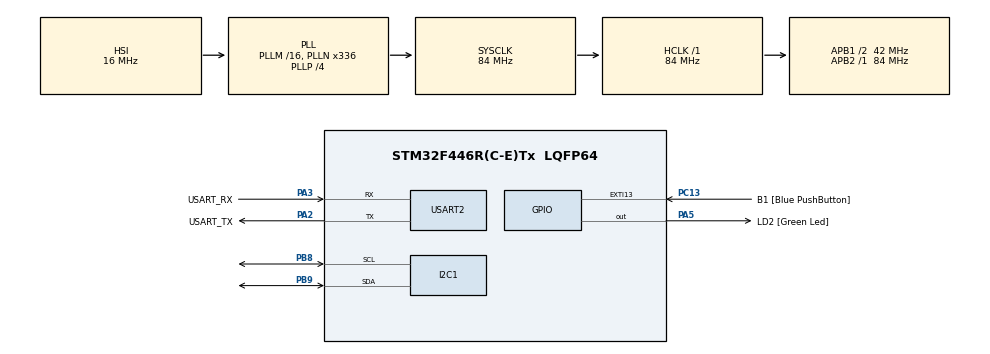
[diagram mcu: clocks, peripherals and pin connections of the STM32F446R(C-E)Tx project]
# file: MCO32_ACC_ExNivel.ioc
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I2C1.I2C_Mode=I2C_Fast
Mcu.Family=STM32F4
Mcu.Name=STM32F446R(C-E)Tx
Mcu.Package=LQFP64
NVIC.EXTI15_10_IRQn=true\:0\:0\:false\:false\:true\:true\:true\:true
NVIC.PriorityGroup=NVIC_PRIORITYGROUP_0
PA13.GPIO_Label=TMS
PA13.Mode=Serial_Wire
PA13.Signal=SYS_JTMS-SWDIO
PA14.GPIO_Label=TCK
PA14.Mode=Serial_Wire
PA14.Signal=SYS_JTCK-SWCLK
PA2.GPIO_Label=USART_TX
PA2.Mode=Asynchronous
PA2.Signal=USART2_TX
PA3.GPIO_Label=USART_RX
PA3.Mode=Asynchronous
PA3.Signal=USART2_RX
PA5.GPIO_Label=LD2 [Green Led]
PA5.Signal=GPIO_Output
PB3.GPIO_Label=SWO
PB3.Signal=SYS_JTDO-SWO
PB8.Mode=I2C
PB8.Signal=I2C1_SCL
PB9.Mode=I2C
PB9.Signal=I2C1_SDA
PC13.GPIO_Label=B1 [Blue PushButton]
PC13.GPIO_ModeDefaultEXTI=GPIO_MODE_IT_FALLING
PC13.Signal=GPXTI13
PC14-OSC32_IN.Mode=LSE-External-Oscillator
PC14-OSC32_IN.Signal=RCC_OSC32_IN
PC15-OSC32_OUT.Mode=LSE-External-Oscillator
PC15-OSC32_OUT.Signal=RCC_OSC32_OUT
PH0-OSC_IN.Mode=HSE-External-Oscillator
PH0-OSC_IN.Signal=RCC_OSC_IN
PH1-OSC_OUT.Mode=HSE-External-Oscillator
PH1-OSC_OUT.Signal=RCC_OSC_OUT
ProjectManager.HeapSize=0x200
ProjectManager.StackSize=0x400
ProjectManager.TargetToolchain=STM32CubeIDE
RCC.48MHZClocksFreq_Value=84000000
RCC.AHBFreq_Value=84000000
RCC.APB1CLKDivider=RCC_HCLK_DIV2
RCC.APB1Freq_Value=42000000
RCC.APB1TimFreq_Value=84000000
RCC.APB2Freq_Value=84000000
RCC.APB2TimFreq_Value=84000000
RCC.CortexFreq_Value=84000000
RCC.FLatency-AdvancedSettings=FLASH_LATENCY_2
RCC.HCLKFreq_Value=84000000
RCC.HSE_VALUE=8000000
RCC.HSI_VALUE=16000000
RCC.PLLN=336
RCC.PLLP=RCC_PLLP_DIV4
RCC.SYSCLKFreq_VALUE=84000000
RCC.SYSCLKSource=RCC_SYSCLKSOURCE_PLLCLK
RCC.USBFreq_Value=168000000
RCC.VCOOutputFreq_Value=336000000
TIM1.AutoReloadPreload=TIM_AUTORELOAD_PRELOAD_ENABLE
TIM1.Period=0xFFFF-1
TIM1.Prescaler=84-1
USART2.VirtualMode=VM_ASYNC
VP_TIM1_VS_ClockSourceINT.Mode=Internal
board=NUCLEO-F446RE

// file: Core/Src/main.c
/* USER CODE BEGIN Header */
/**
  ******************************************************************************
  * @file           : main.c
  * @brief          : Main program body
  ******************************************************************************
  * @attention
  *
  * Copyright (c) 2022 STMicroelectronics.
  * All rights reserved.
  *
  * This software is licensed under terms that can be found in the LICENSE file
  * in the root directory of this software component.
  * If no LICENSE file comes with this software, it is provided AS-IS.
  *
  ******************************************************************************
  */
/* USER CODE END Header */
#include "main.h"

/* USER CODE BEGIN Includes */
#include "fonts.h"
#include "tft.h"
#include "user_setting.h"
#include "functions.h"
#include "MPU6050_light_STM32.h"
#include <stdio.h>
#include <math.h>
/* USER CODE END Includes */

/* USER CODE BEGIN PD */
#define SCREEN_ORIENTATION 1 //0: Retrato | 1: Paisagem
#define SCREEN_BG BLACK //Cor de fundo

/* Mais cores (em RGB 565) */
#define GREY 0xC618
#define ORANGE 0xF9E0
#define PURPLE 0x68FF

/* USER CODE END PD */

I2C_HandleTypeDef hi2c1;

TIM_HandleTypeDef htim1;

UART_HandleTypeDef huart2;

void SystemClock_Config(void);
static void MX_GPIO_Init(void);
static void MX_USART2_UART_Init(void);
static void MX_TIM1_Init(void);
static void MX_I2C1_Init(void);
/* USER CODE BEGIN PFP */
void setScreenSettings(void);
void drawScenery(void);
/* USER CODE END PFP */

/* USER CODE BEGIN 0 */
#ifdef __GNUC__
/* With GCC/RAISONANCE, small printf (option LD Linker-
>Libraries->Small printf
set to 'Yes') calls __io_putchar() */
#define PUTCHAR_PROTOTYPE int __io_putchar(int ch)
#else
#define PUTCHAR_PROTOTYPE int fputc(int ch, FILE *f)
#endif /* __GNUC__ */
/* USER CODE END 0 */

int main(void)
{
  /* USER CODE BEGIN 1 */
	uint32_t timer = 0;
	float accX, accY;
  /* USER CODE END 1 */

  /* MCU Configuration--------------------------------------------------------*/

  /* Reset of all peripherals, Initializes the Flash interface and the Systick. */
  HAL_Init();

  /* Configure the system clock */
  SystemClock_Config();

  /* Initialize all configured peripherals */
  MX_GPIO_Init();
  MX_USART2_UART_Init();
  MX_TIM1_Init();
  MX_I2C1_Init();
  /* USER CODE BEGIN 2 */
  setScreenSettings();
  drawScenery();

  MPU6050_init(&hi2c1);
  HAL_Delay(1000);

  /* USER CODE END 2 */

  /* Infinite loop */
  /* USER CODE BEGIN WHILE */
  while (1)
  {
	  if((HAL_GetTick() - timer) > 1000)
	  {
		  MPU6050_update();
		  accX = MPU6050_getAccX();
		  accY = MPU6050_getAccY();
		  printf("X = %.2f\r\n", accX);
		  printf("Y = %.2f\r\n", accY);
		  timer = HAL_GetTick();
	  }
    /* USER CODE END WHILE */

  }
}

void SystemClock_Config(void)
{
  RCC_OscInitTypeDef RCC_OscInitStruct = {0};
  RCC_ClkInitTypeDef RCC_ClkInitStruct = {0};

  /** Configure the main internal regulator output voltage
  */
  __HAL_RCC_PWR_CLK_ENABLE();
  __HAL_PWR_VOLTAGESCALING_CONFIG(PWR_REGULATOR_VOLTAGE_SCALE3);

  /** Initializes the RCC Oscillators according to the specified parameters
  * in the RCC_OscInitTypeDef structure.
  */
  RCC_OscInitStruct.OscillatorType = RCC_OSCILLATORTYPE_HSI;
  RCC_OscInitStruct.HSIState = RCC_HSI_ON;
  RCC_OscInitStruct.HSICalibrationValue = RCC_HSICALIBRATION_DEFAULT;
  RCC_OscInitStruct.PLL.PLLState = RCC_PLL_ON;
  RCC_OscInitStruct.PLL.PLLSource = RCC_PLLSOURCE_HSI;
  RCC_OscInitStruct.PLL.PLLM = 16;
  RCC_OscInitStruct.PLL.PLLN = 336;
  RCC_OscInitStruct.PLL.PLLP = RCC_PLLP_DIV4;
  RCC_OscInitStruct.PLL.PLLQ = 2;
  RCC_OscInitStruct.PLL.PLLR = 2;
  if (HAL_RCC_OscConfig(&RCC_OscInitStruct) != HAL_OK)
  {
    Error_Handler();
  }

  /** Initializes the CPU, AHB and APB buses clocks
  */
  RCC_ClkInitStruct.ClockType = RCC_CLOCKTYPE_HCLK|RCC_CLOCKTYPE_SYSCLK
                              |RCC_CLOCKTYPE_PCLK1|RCC_CLOCKTYPE_PCLK2;
  RCC_ClkInitStruct.SYSCLKSource = RCC_SYSCLKSOURCE_PLLCLK;
  RCC_ClkInitStruct.AHBCLKDivider = RCC_SYSCLK_DIV1;
  RCC_ClkInitStruct.APB1CLKDivider = RCC_HCLK_DIV2;
  RCC_ClkInitStruct.APB2CLKDivider = RCC_HCLK_DIV1;

  if (HAL_RCC_ClockConfig(&RCC_ClkInitStruct, FLASH_LATENCY_2) != HAL_OK)
  {
    Error_Handler();
  }
}

static void MX_I2C1_Init(void)
{

  hi2c1.Instance = I2C1;
  hi2c1.Init.ClockSpeed = 400000;
  hi2c1.Init.DutyCycle = I2C_DUTYCYCLE_2;
  hi2c1.Init.OwnAddress1 = 0;
  hi2c1.Init.AddressingMode = I2C_ADDRESSINGMODE_7BIT;
  hi2c1.Init.DualAddressMode = I2C_DUALADDRESS_DISABLE;
  hi2c1.Init.OwnAddress2 = 0;
  hi2c1.Init.GeneralCallMode = I2C_GENERALCALL_DISABLE;
  hi2c1.Init.NoStretchMode = I2C_NOSTRETCH_DISABLE;
  if (HAL_I2C_Init(&hi2c1) != HAL_OK)
  {
    Error_Handler();
  }

}

static void MX_TIM1_Init(void)
{

  TIM_ClockConfigTypeDef sClockSourceConfig = {0};
  TIM_MasterConfigTypeDef sMasterConfig = {0};

  htim1.Instance = TIM1;
  htim1.Init.Prescaler = 84-1;
  htim1.Init.CounterMode = TIM_COUNTERMODE_UP;
  htim1.Init.Period = 0xFFFF-1;
  htim1.Init.ClockDivision = TIM_CLOCKDIVISION_DIV1;
  htim1.Init.RepetitionCounter = 0;
  htim1.Init.AutoReloadPreload = TIM_AUTORELOAD_PRELOAD_ENABLE;
  if (HAL_TIM_Base_Init(&htim1) != HAL_OK)
  {
    Error_Handler();
  }
  sClockSourceConfig.ClockSource = TIM_CLOCKSOURCE_INTERNAL;
  if (HAL_TIM_ConfigClockSource(&htim1, &sClockSourceConfig) != HAL_OK)
  {
    Error_Handler();
  }
  sMasterConfig.MasterOutputTrigger = TIM_TRGO_RESET;
  sMasterConfig.MasterSlaveMode = TIM_MASTERSLAVEMODE_DISABLE;
  if (HAL_TIMEx_MasterConfigSynchronization(&htim1, &sMasterConfig) != HAL_OK)
  {
    Error_Handler();
  }

}

static void MX_USART2_UART_Init(void)
{

  huart2.Instance = USART2;
  huart2.Init.BaudRate = 115200;
  huart2.Init.WordLength = UART_WORDLENGTH_8B;
  huart2.Init.StopBits = UART_STOPBITS_1;
  huart2.Init.Parity = UART_PARITY_NONE;
  huart2.Init.Mode = UART_MODE_TX_RX;
  huart2.Init.HwFlowCtl = UART_HWCONTROL_NONE;
  huart2.Init.OverSampling = UART_OVERSAMPLING_16;
  if (HAL_UART_Init(&huart2) != HAL_OK)
  {
    Error_Handler();
  }

}

static void MX_GPIO_Init(void)
{
  GPIO_InitTypeDef GPIO_InitStruct = {0};

  /* GPIO Ports Clock Enable */
  __HAL_RCC_GPIOC_CLK_ENABLE();
  __HAL_RCC_GPIOH_CLK_ENABLE();
  __HAL_RCC_GPIOA_CLK_ENABLE();
  __HAL_RCC_GPIOB_CLK_ENABLE();

  /*Configure GPIO pin Output Level */
  HAL_GPIO_WritePin(LD2_GPIO_Port, LD2_Pin, GPIO_PIN_RESET);

  /*Configure GPIO pin : B1_Pin */
  GPIO_InitStruct.Pin = B1_Pin;
  GPIO_InitStruct.Mode = GPIO_MODE_IT_FALLING;
  GPIO_InitStruct.Pull = GPIO_NOPULL;
  HAL_GPIO_Init(B1_GPIO_Port, &GPIO_InitStruct);

  /*Configure GPIO pin : LD2_Pin */
  GPIO_InitStruct.Pin = LD2_Pin;
  GPIO_InitStruct.Mode = GPIO_MODE_OUTPUT_PP;
  GPIO_InitStruct.Pull = GPIO_NOPULL;
  GPIO_InitStruct.Speed = GPIO_SPEED_FREQ_LOW;
  HAL_GPIO_Init(LD2_GPIO_Port, &GPIO_InitStruct);

  /* EXTI interrupt init*/
  HAL_NVIC_SetPriority(EXTI15_10_IRQn, 0, 0);
  HAL_NVIC_EnableIRQ(EXTI15_10_IRQn);

}

/* USER CODE BEGIN 4 */

/**
 * @brief Configura o LCD
 */
void setScreenSettings(void)
{
	tft_gpio_init(); //Inicializa os GPIOs do LCD (evita uso do CubeMX)
	HAL_TIM_Base_Start(&htim1); //Inicializa o Timer1 (base de tempo de us do LCD)
	uint16_t ID = tft_readID(); //Lê o ID do LCD (poderia ser chamada pela inicialização do LCD)
	HAL_Delay(100);
	tft_init(ID); //Inicializa o LCD de acordo com seu ID
	setRotation(SCREEN_ORIENTATION); //Ajusta a orientação da tela (paisagem)
	fillScreen(SCREEN_BG);
}

/**
 * @brief Desenha o cenário
 */
void drawScenery(void)
{
	fillScreen(SCREEN_BG);
	fillCircle(160, 120, 120, WHITE); //Círculo de fundo
}

/**
 * @brief Retargets the C library printf function to the USART.
 * @param None
 * @retval None
 */
PUTCHAR_PROTOTYPE
{
	/* Place your implementation of fputc here */
	/* e.g. write a character to the USART2 and Loop until the end
of transmission */
	HAL_UART_Transmit(&huart2, (uint8_t *)&ch, 1, 0xFFFF);
	return ch;
}

/* USER CODE END 4 */

void Error_Handler(void)
{
  __disable_irq();
  while (1)
  {
  }
}
